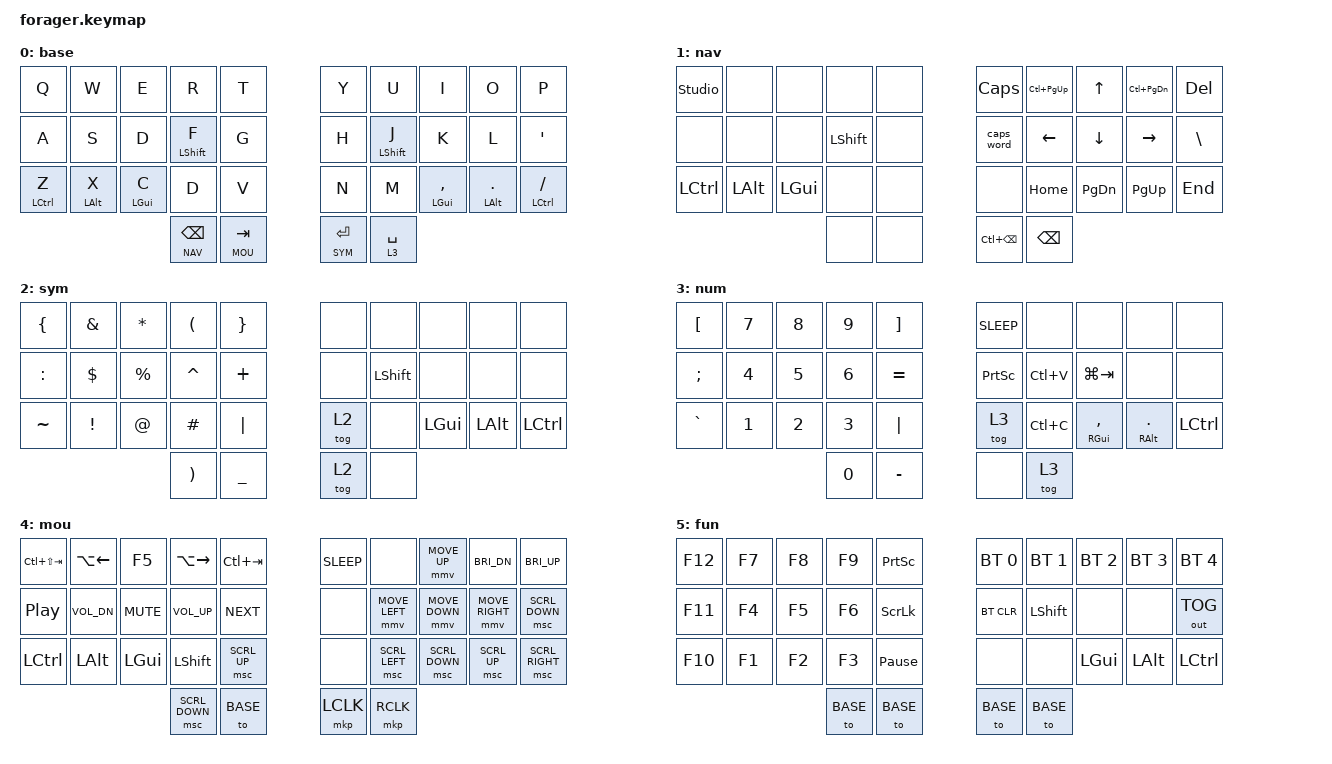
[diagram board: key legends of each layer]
#define ZMK_POINTING_DEFAULT_MOVE_VAL 1100  // default: 600
#define ZMK_POINTING_DEFAULT_SCRL_VAL 20    // default: 10

#include <behaviors.dtsi>
#include <dt-bindings/zmk/keys.h>
#include <dt-bindings/zmk/bt.h>
#include <dt-bindings/zmk/outputs.h>
#include <dt-bindings/zmk/pointing.h>

#define BASE 0
#define NAV  1
#define SYM  2
#define NUM  3
#define MOU  4
#define FUN  5

#define AS(keycode) &as LS(keycode) keycode     // Autoshift Macro
#define MEH LS(LC(LALT))

/ {
    behaviors {
        as: auto_shift {
            compatible = "zmk,behavior-hold-tap";
            #binding-cells = <2>;
            tapping-term-ms = <250>;
            require-prior-idle-ms = <100>;
            flavor = "tap-preferred";
            bindings = <&kp>, <&kp>;
        };
        ht: hold_tap {
            compatible = "zmk,behavior-hold-tap";
            #binding-cells = <2>;
            tapping-term-ms = <200>;
            flavor = "balanced";
            bindings = <&kp>, <&kp>;
        };
        sabk: shift_to_alt_backspace {
            compatible = "zmk,behavior-mod-morph";
            #binding-cells = <0>;
            bindings = <&kp BSPC>, <&kp LA(BSPC)>;
            mods = <(MOD_LSFT|MOD_RSFT)>;
        };
        smart_shift: smart_shift {
            compatible = "zmk,behavior-mod-morph";
            #binding-cells = <0>;
            bindings = <&sk LSHFT>, <&caps_word>;
            mods = <(MOD_LSFT|MOD_RSFT)>;
        };
        sym_bspc: left_thumb_hold_tap {
            compatible = "zmk,behavior-hold-tap";
            #binding-cells = <2>;
            flavor = "tap-preferred";
            tapping-term-ms = <150>;
            quick-tap-ms = <200>;
            bindings = <&mo>, <&sabk>;
        };
        lhm: left_homerow_mods {
            compatible = "zmk,behavior-hold-tap";
            #binding-cells = <2>;
            flavor = "balanced";
            tapping-term-ms = <280>;
            quick-tap-ms = <175>;
            require-prior-idle-ms = <150>;
            bindings = <&kp>, <&kp>;
            hold-trigger-key-positions = <5 6 7 8 9 15 16 17 18 19 25 26 27 28 29 30 31 32 33>;
        };
        rhm: right_homerow_mods {
            compatible = "zmk,behavior-hold-tap";
            #binding-cells = <2>;
            flavor = "balanced";
            tapping-term-ms = <280>;
            quick-tap-ms = <175>;
            require-prior-idle-ms = <150>;
            bindings = <&kp>, <&kp>;
            hold-trigger-key-positions = <0 1 2 3 4 10 11 12 13 14 20 21 22 23 24 30 31 32 33>;
        };
    };

    combos {
        compatible = "zmk,combos";
                capsword {
            layers = <0>;
            timeout-ms = <50>;
            key-positions = <11 12 17 18>;
            bindings = <&caps_word>;
        };
        combo_esc {
            timeout-ms = <50>;
            key-positions = <0 1>;
            bindings = <&kp ESC>;
            layers = <0>;
        };
        combo_lshift {
            timeout-ms = <50>;
            key-positions = <11 12>;
            bindings = <&sk LSHFT>;
            layers = <0>;
        };
        combo_rshift {
            timeout-ms = <50>;
            key-positions = <17 18>;
            bindings = <&sk LSHFT>;
            layers = <0>;
        };
        combo_mouse {
            timeout-ms = <50>;
            key-positions = <3 4>;
            bindings = <&tog MOU>;
            layers = <0 4>;
        };
        combo_function {
            timeout-ms = <50>;
            key-positions = <5 6>;
            bindings = <&tog FUN>;
            layers = <0 5>;
        };
    };

    keymap {
        compatible = "zmk,keymap";

        base {
            bindings = <
            &kp Q           &kp W          &kp E           &kp R           &kp T                                           &kp Y           &kp U         &kp I            &kp O           &kp P
            &kp A           &kp S          &kp D           &lhm LSHFT F    &kp G                                           &kp H           &rhm LSHFT J  &kp K            &kp L           &kp SQT
            &lhm LCTL Z     &lhm LALT X    &lhm LGUI C     &kp D           &kp V                                           &kp N           &kp M         &rhm LGUI COMMA  &rhm LALT DOT   &rhm LCTRL FSLH
                                                                            &lt NAV BSPC   &lt MOU TAB    &lt SYM ENTER  &lt 3 SPACE
            >;
        };

        nav {
            bindings = <
            &studio_unlock  &none       &none        &none          &none                                    &kp CAPS       &kp LC(PG_UP)   &kp UP          &kp LC(PG_DN)   &kp DELETE
            &none           &none       &none        &kp LSHFT      &none                                    &caps_word  &kp LEFT        &kp DOWN        &kp RIGHT       &kp BSLH
            &kp LCTRL       &kp LALT    &kp LGUI     &none          &none                                    &none          &kp HOME        &kp PAGE_DOWN         &kp PAGE_UP   &kp END
                                                                    &none         &none       &kp LC(BSPC)      &kp BSPC
            >;
        };

        sym {
            bindings = <
                &kp LBRC    &kp AMPS   &kp STAR   &kp LPAR   &kp RBRC         &none     &none       &none    &none    &none
                &kp COLON   &kp DLLR   &kp PRCNT  &kp CARET  &kp PLUS         &none     &kp LSHIFT  &none    &none    &none
                &kp TILDE   &kp EXCL   &kp AT     &kp HASH   &kp PIPE         &tog 2    &none       &kp LGUI &kp LALT &kp LCTL
                                                  &kp RPAR   &kp UNDER        &tog 2    &none
            >;
        };

        num {
            bindings = <
            &kp LBKT      &kp N7         &kp N8          &kp N9       &kp RBKT                                  &kp C_SLEEP     &none          &none                   &none             &none
            &kp SEMI      &kp N4         &kp N5          &kp N6       &kp EQUAL                                 &kp PSCRN       &kp LC(V)      &kp LG(TAB)             &none             &none
            &kp GRAVE     &kp N1         &kp N2          &kp N3       &kp PIPE                                  &tog 3          &kp LC(C)      &mt RGUI COMMA          &mt RALT DOT      &kp LCTL
                                                                      &kp N0          &kp MINUS      &none      &tog 3
            >;
        };

        mou {
            bindings = <
                &kp LC(LS(TAB)) &kp LA(LEFT)  &kp F5      &kp LA(RIGHT)   &kp LC(TAB)      &kp C_SLEEP     &none             &mmv MOVE_UP         &kp C_BRI_DN     &kp C_BRI_UP
                &kp C_PP        &kp C_VOL_DN  &kp C_MUTE  &kp C_VOL_UP    &kp C_NEXT       &none          &mmv MOVE_LEFT    &mmv MOVE_DOWN       &mmv MOVE_RIGHT  &msc SCRL_DOWN
                &kp LCTL        &kp LALT      &kp LGUI    &kp LSHIFT      &msc SCRL_UP           &none          &msc SCRL_LEFT    &msc SCRL_DOWN       &msc SCRL_UP     &msc SCRL_RIGHT
                                                          &msc SCRL_DOWN           &to BASE         &mkp  LCLK   &mkp RCLK
            >;
        };

        fun {
            bindings = <
            &kp F12        &kp F7          &kp F8          &kp F9          &kp PSCRN                                          &bt BT_SEL 0  &bt BT_SEL 1  &bt BT_SEL 2   &bt BT_SEL 3   &bt BT_SEL 4
            &kp F11        &kp F4          &kp F5          &kp F6          &kp SLCK                                          &bt BT_CLR    &kp LSHIFT    &none          &none          &out OUT_TOG
            &kp F10        &kp F1          &kp F2          &kp F3          &kp PAUSE_BREAK                                          &none          &none          &kp LGUI          &kp LALT          &kp LCTRL
                                                                            &to BASE          &to BASE          &to BASE          &to BASE
            >;
        };
    };
};

&lt {
    // require-prior-idle-ms = <100>;
    tapping-term-ms = <150>;
    quick-tap-ms = <200>;
};

&mt {
    quick-tap-ms = <200>;
};

&sk {
    release-after-ms = <500>;
    quick-release;
};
